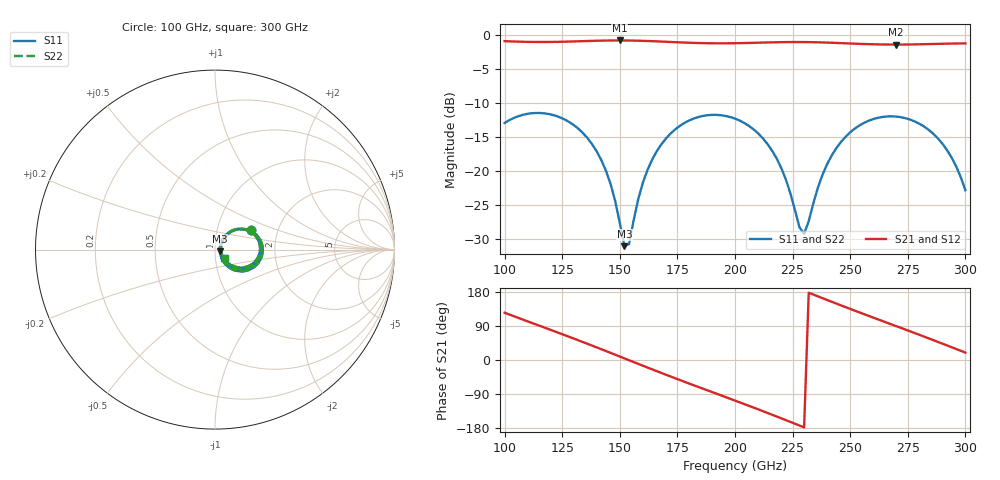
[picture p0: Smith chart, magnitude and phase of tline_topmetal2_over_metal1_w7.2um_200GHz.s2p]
#  GHZ S DB R 50
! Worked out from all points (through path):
!   101 points, 100 GHz to 300 GHz, reference 50 ohm
!   highest |S21| = -0.83 dB at 150 GHz (marker M1); lowest = -1.4 dB at 270 GHz (marker M2)
!   group delay of S21, straight-line fit = 6.48 ps
!   lowest |S11| = -31.1 dB at 152 GHz (marker M3), VSWR 1.06, Z = 52.7 - j0.968 ohm
!   |S11| at or under -10 dB: start of sweep to end of sweep
!   |S22| runs from -30.9 to -11.5 dB; largest |S21 - S12| = 1e-13
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100  -12.96 28.3  -0.93 124.7  -0.93 124.7  -12.97 28.3
118  -11.58 -8.1  -1.05 84.0  -1.05 84.0  -11.59 -8.1
134  -14.45 -39.9  -0.93 47.3  -0.93 47.3  -14.46 -39.8
144  -20.00 -55.1  -0.85 23.6  -0.85 23.6  -20.00 -54.8
150  -27.68 -44.7  -0.83 9.1  -0.83 9.1  -27.62 -44.1
152  -31.09 -19.2  -0.83 4.3  -0.83 4.3  -30.92 -18.6
154  -30.80 22.2  -0.84 -0.6  -0.84 -0.6  -30.61 21.8
158  -24.17 52.8  -0.87 -10.2  -0.87 -10.2  -24.12 52.2
162  -19.89 53.8  -0.91 -19.8  -0.91 -19.8  -19.87 53.3
168  -16.13 45.7  -0.99 -34.0  -0.99 -34.0  -16.12 45.4
184  -12.10 15.3  -1.21 -70.9  -1.21 -70.9  -12.11 15.0
200  -12.33 -16.2  -1.24 -107.1  -1.24 -107.1  -12.33 -16.6
216  -16.99 -44.4  -1.11 -144.2  -1.11 -144.2  -17.01 -44.9
230  -29.26 7.1  -1.07 -177.7  -1.07 -177.7  -29.53 7.5
234  -24.79 45.0  -1.09 172.7  -1.09 172.7  -24.86 45.9
240  -19.02 50.3  -1.15 158.3  -1.15 158.3  -19.03 50.7
248  -14.99 39.5  -1.25 139.5  -1.25 139.5  -15.00 39.7
258  -12.64 21.1  -1.37 116.5  -1.37 116.5  -12.64 21.3
268  -11.99 1.8  -1.43 93.8  -1.43 93.8  -11.99 1.9
270  -12.03 -2.1  -1.44 89.3  -1.44 89.3  -12.03 -1.9
288  -15.21 -35.5  -1.33 48.0  -1.33 48.0  -15.20 -35.1
300  -22.86 -43.4  -1.26 19.5  -1.26 19.5  -22.74 -42.1
